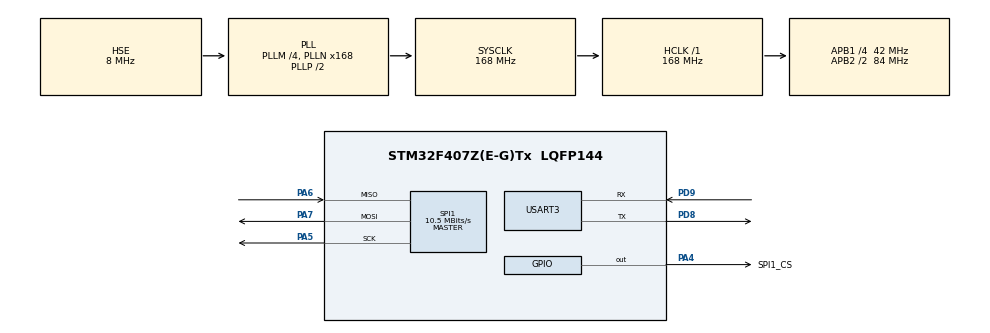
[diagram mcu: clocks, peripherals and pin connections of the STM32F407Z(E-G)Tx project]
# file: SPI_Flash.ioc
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Mcu.Family=STM32F4
Mcu.Name=STM32F407Z(E-G)Tx
Mcu.Package=LQFP144
NVIC.PriorityGroup=NVIC_PRIORITYGROUP_4
NVIC.SPI1_IRQn=true\:2\:0\:true\:false\:true\:true\:true\:true
NVIC.USART3_IRQn=true\:3\:0\:true\:false\:true\:true\:true\:true
PA13.Mode=Serial_Wire
PA13.Signal=SYS_JTMS-SWDIO
PA14.Mode=Serial_Wire
PA14.Signal=SYS_JTCK-SWCLK
PA4.GPIO_Label=SPI1_CS
PA4.GPIO_Speed=GPIO_SPEED_FREQ_VERY_HIGH
PA4.PinState=GPIO_PIN_SET
PA4.Signal=GPIO_Output
PA5.Mode=Full_Duplex_Master
PA5.Signal=SPI1_SCK
PA6.Mode=Full_Duplex_Master
PA6.Signal=SPI1_MISO
PA7.Mode=Full_Duplex_Master
PA7.Signal=SPI1_MOSI
PC14-OSC32_IN.Mode=LSE-External-Oscillator
PC14-OSC32_IN.Signal=RCC_OSC32_IN
PC15-OSC32_OUT.Mode=LSE-External-Oscillator
PC15-OSC32_OUT.Signal=RCC_OSC32_OUT
PD8.Mode=Asynchronous
PD8.Signal=USART3_TX
PD9.Mode=Asynchronous
PD9.Signal=USART3_RX
PH0-OSC_IN.Mode=HSE-External-Oscillator
PH0-OSC_IN.Signal=RCC_OSC_IN
PH1-OSC_OUT.Mode=HSE-External-Oscillator
PH1-OSC_OUT.Signal=RCC_OSC_OUT
ProjectManager.HeapSize=0x400
ProjectManager.StackSize=0x800
ProjectManager.TargetToolchain=STM32CubeIDE
RCC.48MHZClocksFreq_Value=84000000
RCC.AHBFreq_Value=168000000
RCC.APB1CLKDivider=RCC_HCLK_DIV4
RCC.APB1Freq_Value=42000000
RCC.APB1TimFreq_Value=84000000
RCC.APB2CLKDivider=RCC_HCLK_DIV2
RCC.APB2Freq_Value=84000000
RCC.APB2TimFreq_Value=168000000
RCC.CortexFreq_Value=168000000
RCC.HCLKFreq_Value=168000000
RCC.HSE_VALUE=8000000
RCC.HSI_VALUE=16000000
RCC.PLLM=4
RCC.PLLN=168
RCC.PLLSourceVirtual=RCC_PLLSOURCE_HSE
RCC.SYSCLKFreq_VALUE=168000000
RCC.SYSCLKSource=RCC_SYSCLKSOURCE_PLLCLK
RCC.VCOOutputFreq_Value=336000000
SPI1.BaudRatePrescaler=SPI_BAUDRATEPRESCALER_8
SPI1.CalculateBaudRate=10.5 MBits/s
SPI1.Direction=SPI_DIRECTION_2LINES
SPI1.Mode=SPI_MODE_MASTER
SPI1.VirtualType=VM_MASTER
USART3.VirtualMode=VM_ASYNC
board=custom

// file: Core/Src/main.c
/* USER CODE BEGIN Header */
/**
  ******************************************************************************
  * @file           : main.c
  * @brief          : Main program body
  ******************************************************************************
  * @attention
  *
  * Copyright (c) 2022 STMicroelectronics.
  * All rights reserved.
  *
  * This software is licensed under terms that can be found in the LICENSE file
  * in the root directory of this software component.
  * If no LICENSE file comes with this software, it is provided AS-IS.
  *
  ******************************************************************************
  */
/* USER CODE END Header */
#include "main.h"
#include "spi.h"
#include "usart.h"
#include "gpio.h"

/* USER CODE BEGIN Includes */
#include <stdio.h>
#include <string.h>
#include "../../User/w25qxx/w25qxx.h"
/* USER CODE END Includes */

void SystemClock_Config(void);

/* USER CODE BEGIN 0 */
uint16_t FLASH_ID;

uint8_t read_buf[64];
uint8_t send_buf[]="Hello World!";

uint8_t data1=250;
uint8_t data1_read;

//float 单精度浮点数占用32bit空间，不像存储整型或char型数据那么便�??
//我们在存储float数据时就�??要先将float数变换一下，变换成数组的格式，这样就方便存储和读取了
//这就是利用了共用体共用一段内存的原理，即 float data �?? uint8_t temp[4]，使用的是一个空间大小的内存�??
float data2=666.6666;
union
{
	float data;
	uint8_t temp[4];
}data2_float;
union
{
	float data;
	uint8_t temp[4];
}data2_float_read;

/* USER CODE END 0 */

int main(void)
{

  /* MCU Configuration--------------------------------------------------------*/

  /* Reset of all peripherals, Initializes the Flash interface and the Systick. */
  HAL_Init();

  /* Configure the system clock */
  SystemClock_Config();

  /* Initialize all configured peripherals */
  MX_GPIO_Init();
  MX_SPI1_Init();
  MX_USART3_UART_Init();
  /* USER CODE BEGIN 2 */
  W25QXX_Init();				    	//W25QXX初始�??

  printf("uart3 ok\r\n");
  while(1)
  {
	  FLASH_ID = W25QXX_ReadID();
	  if(W25Q128 == FLASH_ID)
		  break;
	  printf("W25Q128 Check Failed!\r\n");
	  HAL_Delay(500);
  }
  printf("W25Q128 Ready!\r\n");

//   data2_float.data = data2;
//   W25QXX_Write(send_buf,100,strlen((char *)send_buf));
//   W25QXX_Write(&data1,200,sizeof(data1));
//   W25QXX_Write(data2_float.temp,300,sizeof(data2_float));
//   HAL_Delay(1000);

   W25QXX_Read(read_buf,100,strlen((char *)send_buf));
   W25QXX_Read(&data1_read,200,sizeof(data1));
   W25QXX_Read(data2_float_read.temp,300,sizeof(data2_float));
   printf("%s\r\n",read_buf);
   printf("%d\r\n",data1_read);
   printf("%f\r\n",data2_float_read.data);

  /* USER CODE END 2 */

  /* Infinite loop */
  while (1)
  {

  }
}

void SystemClock_Config(void)
{
  RCC_OscInitTypeDef RCC_OscInitStruct = {0};
  RCC_ClkInitTypeDef RCC_ClkInitStruct = {0};

  /** Configure the main internal regulator output voltage
  */
  __HAL_RCC_PWR_CLK_ENABLE();
  __HAL_PWR_VOLTAGESCALING_CONFIG(PWR_REGULATOR_VOLTAGE_SCALE1);

  /** Initializes the RCC Oscillators according to the specified parameters
  * in the RCC_OscInitTypeDef structure.
  */
  RCC_OscInitStruct.OscillatorType = RCC_OSCILLATORTYPE_HSE;
  RCC_OscInitStruct.HSEState = RCC_HSE_ON;
  RCC_OscInitStruct.PLL.PLLState = RCC_PLL_ON;
  RCC_OscInitStruct.PLL.PLLSource = RCC_PLLSOURCE_HSE;
  RCC_OscInitStruct.PLL.PLLM = 4;
  RCC_OscInitStruct.PLL.PLLN = 168;
  RCC_OscInitStruct.PLL.PLLP = RCC_PLLP_DIV2;
  RCC_OscInitStruct.PLL.PLLQ = 4;
  if (HAL_RCC_OscConfig(&RCC_OscInitStruct) != HAL_OK)
  {
    Error_Handler();
  }

  /** Initializes the CPU, AHB and APB buses clocks
  */
  RCC_ClkInitStruct.ClockType = RCC_CLOCKTYPE_HCLK|RCC_CLOCKTYPE_SYSCLK
                              |RCC_CLOCKTYPE_PCLK1|RCC_CLOCKTYPE_PCLK2;
  RCC_ClkInitStruct.SYSCLKSource = RCC_SYSCLKSOURCE_PLLCLK;
  RCC_ClkInitStruct.AHBCLKDivider = RCC_SYSCLK_DIV1;
  RCC_ClkInitStruct.APB1CLKDivider = RCC_HCLK_DIV4;
  RCC_ClkInitStruct.APB2CLKDivider = RCC_HCLK_DIV2;

  if (HAL_RCC_ClockConfig(&RCC_ClkInitStruct, FLASH_LATENCY_5) != HAL_OK)
  {
    Error_Handler();
  }
}

void Error_Handler(void)
{
  __disable_irq();
  while (1)
  {
  }
}
